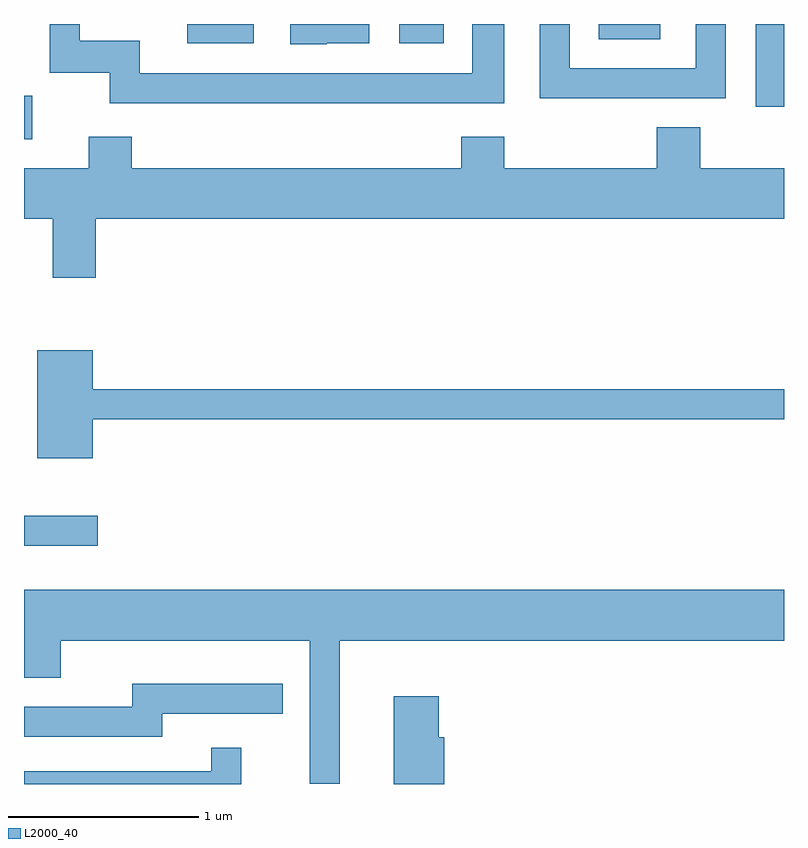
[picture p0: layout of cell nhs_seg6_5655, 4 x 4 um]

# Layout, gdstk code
import gdstk
lib = gdstk.Library(unit=1e-6, precision=1e-09)
def R(c, l, rs):  # rectangles x0, y0, x1, y1
    for r in rs: c.add(gdstk.rectangle(r[:2], r[2:], *l))
def P(c, l, *ps):  # polygons
    for p in ps: c.add(gdstk.Polygon(p, *l))
L2000_40 = (2000, 40)

nhs_seg6_5655 = lib.new_cell('nhs_seg6_5655')
R(nhs_seg6_5655, L2000_40, [(357.611,1559.416,357.998,1559.574), (357.611,1561.556,357.654,1561.784), (361.461,1561.726,361.611,1562.162), (358.471,1562.061,358.819,1562.162), (359.586,1562.061,359.819,1562.162), (360.636,1562.081,360.959,1562.162)])
P(nhs_seg6_5655, L2000_40, [(361.304,1562.162),(361.146,1562.162),(361.146,1561.929),(360.484,1561.929),(360.484,1562.162),(360.326,1562.162),(360.326,1561.771),(361.304,1561.771)],
  [(360.139,1562.162),(359.971,1562.162),(359.971,1561.904),(358.219,1561.904),(358.219,1562.074),(357.904,1562.074),(357.904,1562.162),(357.746,1562.162),(357.746,1561.906),(358.061,1561.906),(358.061,1561.746),(360.139,1561.746)],
  [(359.205,1562.061),(359.429,1562.061),(359.429,1562.162),(359.011,1562.162),(359.011,1562.056),(359.205,1562.056)],
  [(361.611,1561.404),(361.169,1561.404),(361.169,1561.619),(360.941,1561.619),(360.941,1561.404),(360.139,1561.404),(360.139,1561.569),(359.911,1561.569),(359.911,1561.404),(358.179,1561.404),(358.179,1561.569),(357.951,1561.569),(357.951,1561.404),(357.611,1561.404),(357.611,1561.136),(357.761,1561.136),(357.761,1560.826),(357.989,1560.826),(357.989,1561.136),(361.611,1561.136)],
  [(357.974,1560.081),(361.611,1560.081),(361.611,1560.239),(357.974,1560.239),(357.974,1560.444),(357.681,1560.444),(357.681,1559.876),(357.974,1559.876)],
  [(359.274,1558.916),(361.611,1558.916),(361.611,1559.184),(357.611,1559.184),(357.611,1558.721),(357.804,1558.721),(357.804,1558.916),(359.116,1558.916),(359.116,1558.163),(359.274,1558.163)],
  [(358.339,1558.531),(358.973,1558.531),(358.973,1558.689),(358.181,1558.689),(358.181,1558.569),(357.611,1558.569),(357.611,1558.411),(358.339,1558.411)],
  [(359.824,1558.409),(359.794,1558.409),(359.794,1558.624),(359.556,1558.624),(359.556,1558.162),(359.824,1558.162)],
  [(358.754,1558.353),(358.596,1558.353),(358.596,1558.229),(357.611,1558.229),(357.611,1558.162),(358.754,1558.162)])

lib.write_gds('nhs_seg6_5655.gds')
